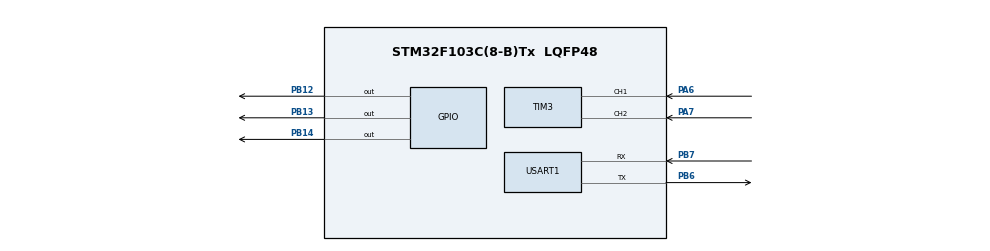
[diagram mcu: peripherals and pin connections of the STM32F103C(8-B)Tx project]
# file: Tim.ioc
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Mcu.Family=STM32F1
Mcu.Name=STM32F103C(8-B)Tx
Mcu.Package=LQFP48
NVIC.PriorityGroup=NVIC_PRIORITYGROUP_4
PA13.Mode=Serial_Wire
PA13.Signal=SYS_JTMS-SWDIO
PA14.Mode=Serial_Wire
PA14.Signal=SYS_JTCK-SWCLK
PA6.Signal=S_TIM3_CH1
PA7.Signal=S_TIM3_CH2
PB12.Signal=GPIO_Output
PB13.Signal=GPIO_Output
PB14.Signal=GPIO_Output
PB6.Mode=Asynchronous
PB6.Signal=USART1_TX
PB7.Mode=Asynchronous
PB7.Signal=USART1_RX
ProjectManager.HeapSize=0x200
ProjectManager.StackSize=0x400
ProjectManager.TargetToolchain=Other Toolchains (GPDSC)
RCC.APB1Freq_Value=8000000
RCC.APB2Freq_Value=8000000
SH.S_TIM3_CH1.0=TIM3_CH1,Encoder_Interface
SH.S_TIM3_CH2.0=TIM3_CH2,Encoder_Interface
USART1.VirtualMode=VM_ASYNC
board=custom

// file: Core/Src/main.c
/* USER CODE BEGIN Header */
/**
  ******************************************************************************
  * @file           : main.c
  * @brief          : Main program body
  ******************************************************************************
  * @attention
  *
  * <h2><center>&copy; Copyright (c) 2022 STMicroelectronics.
  * All rights reserved.</center></h2>
  *
  * This software component is licensed by ST under BSD 3-Clause license,
  * the "License"; You may not use this file except in compliance with the
  * License. You may obtain a copy of the License at:
  *                        opensource.org/licenses/BSD-3-Clause
  *
  ******************************************************************************
  */
/* USER CODE END Header */
#include "main.h"

/* USER CODE BEGIN Includes */
#include <stdlib.h>
/* USER CODE END Includes */

/* USER CODE BEGIN PTD */
#define BUFFER_SIZE 8
/* USER CODE END PTD */

TIM_HandleTypeDef htim3;

UART_HandleTypeDef huart1;

/* USER CODE BEGIN PV */

uint8_t transmitBuffer[BUFFER_SIZE] = { 0, 0, 0, 0, 0, 0, 0, 0 };

uint32_t count = 0;
uint32_t dcount;
double distmm;
double distsm;
double distm;
uint8_t direct = 0;
/* USER CODE END PV */

void SystemClock_Config(void);
static void MX_GPIO_Init(void);
static void MX_USART1_UART_Init(void);
static void MX_TIM3_Init(void);

int main(void)
{

  /* MCU Configuration--------------------------------------------------------*/

  /* Reset of all peripherals, Initializes the Flash interface and the Systick. */
  HAL_Init();

  /* Configure the system clock */
  SystemClock_Config();

  /* Initialize all configured peripherals */
  MX_GPIO_Init();
  MX_USART1_UART_Init();
  MX_TIM3_Init();
  /* USER CODE BEGIN 2 */
	HAL_TIM_Encoder_Start(&htim3, TIM_CHANNEL_ALL);
	__HAL_TIM_SET_COUNTER(&htim3, 30000);
	HAL_GPIO_WritePin(GPIOB, GPIO_PIN_14, GPIO_PIN_SET);
	HAL_GPIO_WritePin(GPIOB, GPIO_PIN_13, GPIO_PIN_RESET);
	HAL_GPIO_WritePin(GPIOB, GPIO_PIN_12, GPIO_PIN_SET);
  /* USER CODE END 2 */

  /* Infinite loop */
  /* USER CODE BEGIN WHILE */
  while (1)
  {
	  count = __HAL_TIM_GET_COUNTER(&htim3);
	  direct = __HAL_TIM_IS_TIM_COUNTING_DOWN(&htim3);
	  dcount = count - 30000;
	  distmm = 3000 - (dcount*2.875);
	  distm = distmm / 1000;
	  distsm = ((int)distmm % 1000) / 10;
	  transmitBuffer[0] = distm;
	  transmitBuffer[1] = distsm;
	  HAL_UART_Transmit(&huart1, transmitBuffer, BUFFER_SIZE,10);
	  HAL_Delay(500);
	  //HAL_Delay(2000);
    /* USER CODE END WHILE */

  }
}

void SystemClock_Config(void)
{
  RCC_OscInitTypeDef RCC_OscInitStruct = {0};
  RCC_ClkInitTypeDef RCC_ClkInitStruct = {0};

  /** Initializes the RCC Oscillators according to the specified parameters
  * in the RCC_OscInitTypeDef structure.
  */
  RCC_OscInitStruct.OscillatorType = RCC_OSCILLATORTYPE_HSI;
  RCC_OscInitStruct.HSIState = RCC_HSI_ON;
  RCC_OscInitStruct.HSICalibrationValue = RCC_HSICALIBRATION_DEFAULT;
  RCC_OscInitStruct.PLL.PLLState = RCC_PLL_NONE;
  if (HAL_RCC_OscConfig(&RCC_OscInitStruct) != HAL_OK)
  {
    Error_Handler();
  }
  /** Initializes the CPU, AHB and APB buses clocks
  */
  RCC_ClkInitStruct.ClockType = RCC_CLOCKTYPE_HCLK|RCC_CLOCKTYPE_SYSCLK
                              |RCC_CLOCKTYPE_PCLK1|RCC_CLOCKTYPE_PCLK2;
  RCC_ClkInitStruct.SYSCLKSource = RCC_SYSCLKSOURCE_HSI;
  RCC_ClkInitStruct.AHBCLKDivider = RCC_SYSCLK_DIV1;
  RCC_ClkInitStruct.APB1CLKDivider = RCC_HCLK_DIV1;
  RCC_ClkInitStruct.APB2CLKDivider = RCC_HCLK_DIV1;

  if (HAL_RCC_ClockConfig(&RCC_ClkInitStruct, FLASH_LATENCY_0) != HAL_OK)
  {
    Error_Handler();
  }
}

static void MX_TIM3_Init(void)
{

  TIM_Encoder_InitTypeDef sConfig = {0};
  TIM_MasterConfigTypeDef sMasterConfig = {0};

  htim3.Instance = TIM3;
  htim3.Init.Prescaler = 0;
  htim3.Init.CounterMode = TIM_COUNTERMODE_UP;
  htim3.Init.Period = 65535;
  htim3.Init.ClockDivision = TIM_CLOCKDIVISION_DIV1;
  htim3.Init.AutoReloadPreload = TIM_AUTORELOAD_PRELOAD_DISABLE;
  sConfig.EncoderMode = TIM_ENCODERMODE_TI1;
  sConfig.IC1Polarity = TIM_ICPOLARITY_RISING;
  sConfig.IC1Selection = TIM_ICSELECTION_DIRECTTI;
  sConfig.IC1Prescaler = TIM_ICPSC_DIV1;
  sConfig.IC1Filter = 0;
  sConfig.IC2Polarity = TIM_ICPOLARITY_RISING;
  sConfig.IC2Selection = TIM_ICSELECTION_DIRECTTI;
  sConfig.IC2Prescaler = TIM_ICPSC_DIV1;
  sConfig.IC2Filter = 0;
  if (HAL_TIM_Encoder_Init(&htim3, &sConfig) != HAL_OK)
  {
    Error_Handler();
  }
  sMasterConfig.MasterOutputTrigger = TIM_TRGO_RESET;
  sMasterConfig.MasterSlaveMode = TIM_MASTERSLAVEMODE_DISABLE;
  if (HAL_TIMEx_MasterConfigSynchronization(&htim3, &sMasterConfig) != HAL_OK)
  {
    Error_Handler();
  }

}

static void MX_USART1_UART_Init(void)
{

  huart1.Instance = USART1;
  huart1.Init.BaudRate = 115200;
  huart1.Init.WordLength = UART_WORDLENGTH_8B;
  huart1.Init.StopBits = UART_STOPBITS_1;
  huart1.Init.Parity = UART_PARITY_NONE;
  huart1.Init.Mode = UART_MODE_TX_RX;
  huart1.Init.HwFlowCtl = UART_HWCONTROL_NONE;
  huart1.Init.OverSampling = UART_OVERSAMPLING_16;
  if (HAL_UART_Init(&huart1) != HAL_OK)
  {
    Error_Handler();
  }

}

static void MX_GPIO_Init(void)
{
  GPIO_InitTypeDef GPIO_InitStruct = {0};

  /* GPIO Ports Clock Enable */
  __HAL_RCC_GPIOA_CLK_ENABLE();
  __HAL_RCC_GPIOB_CLK_ENABLE();

  /*Configure GPIO pin Output Level */
  HAL_GPIO_WritePin(GPIOB, GPIO_PIN_12|GPIO_PIN_13|GPIO_PIN_14, GPIO_PIN_RESET);

  /*Configure GPIO pins : PB12 PB13 PB14 */
  GPIO_InitStruct.Pin = GPIO_PIN_12|GPIO_PIN_13|GPIO_PIN_14;
  GPIO_InitStruct.Mode = GPIO_MODE_OUTPUT_PP;
  GPIO_InitStruct.Pull = GPIO_NOPULL;
  GPIO_InitStruct.Speed = GPIO_SPEED_FREQ_LOW;
  HAL_GPIO_Init(GPIOB, &GPIO_InitStruct);

}

void Error_Handler(void)
{
  __disable_irq();
  while (1)
  {
  }
}

/************************ (C) COPYRIGHT STMicroelectronics *****END OF FILE****/
